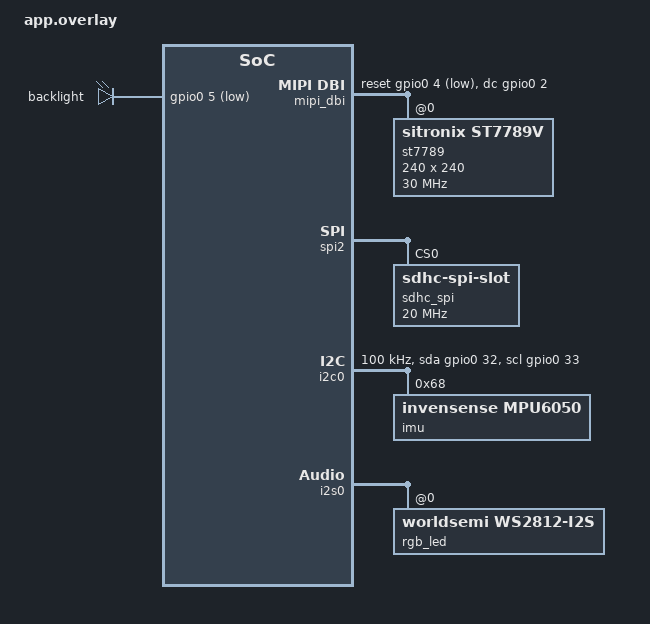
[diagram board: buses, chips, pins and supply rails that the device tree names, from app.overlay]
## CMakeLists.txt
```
cmake_minimum_required(VERSION 3.20.0)

find_package(Zephyr REQUIRED HINTS $ENV{ZEPHYR_BASE})

list(APPEND KCONFIG_SOURCES "${CMAKE_CURRENT_SOURCE_DIR}/src/Kconfig")

project(app1)

zephyr_include_directories(include)

add_subdirectory(src/apps)

target_sources(app PRIVATE
  src/main.c
  src/gui.c
  src/tool.c
  src/app_mgr.c
  src/app_list.c
  src/app_thread.c
  src/file.c
  src/input.c
  src/ui.c
  src/jpeg.c
  src/led.c
  src/prefs.c
  src/nav.c
  src/lib/tjpgd/tjpgd.c
)
```

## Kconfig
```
source "$ZEPHYR_BASE/Kconfig"

rsource "src/Kconfig"
```

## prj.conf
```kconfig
# main() only idles, but every SYS_INIT (LVGL init, SD mount) runs on this stack.
# Measured peak 1344 bytes ("kernel thread stacks"), keep about 2x margin
CONFIG_MAIN_STACK_SIZE=3072
CONFIG_HEAP_MEM_POOL_SIZE=8192
CONFIG_GPIO=y
CONFIG_SERIAL=y
CONFIG_CONSOLE=y
CONFIG_PRINTK=y
CONFIG_ESP32_USE_UNSUPPORTED_REVISION=y
# -O2: LVGL software rendering and JPEG decoding are CPU bound, flash has plenty of room
CONFIG_SPEED_OPTIMIZATIONS=y

CONFIG_LOG=y
CONFIG_LOG_BUFFER_SIZE=2048
CONFIG_SHELL=y
# Measured 1504 / 2048 bytes, too close
CONFIG_SHELL_STACK_SIZE=3072
# Logs reach the console through the shell, which has its own queue. INFO stays on during
# development (lower the levels for a release build) and the boot burst overflowed the default
CONFIG_SHELL_BACKEND_SERIAL_LOG_MESSAGE_QUEUE_SIZE=2048
CONFIG_SHELL_BACKEND_SERIAL=y

CONFIG_SPI=y
# With DMA, transfers wait on an interrupt instead of busy polling, so other threads keep running
CONFIG_SPI_ESP32_INTERRUPT=y
CONFIG_DISK_ACCESS=y
CONFIG_DISK_DRIVER_SDMMC=y

CONFIG_FILE_SYSTEM=y
CONFIG_FILE_SYSTEM_SHELL=y
CONFIG_FILE_SYSTEM_MKFS=y
# CONFIG_FILE_SYSTEM_SHELL_MOUNT_COMMAND=y

CONFIG_FAT_FILESYSTEM_ELM=y

CONFIG_FS_FATFS_LFN=y
# Don't format the card automatically when mount fails (e.g. an exFAT card),
# use "fs mkfs" from the shell instead
CONFIG_FS_FATFS_MOUNT_MKFS=n

CONFIG_DISPLAY=y
CONFIG_ST7789V=y
CONFIG_LVGL=y
CONFIG_LV_COLOR_DEPTH_16=y
CONFIG_LV_COLOR_16_SWAP=y
CONFIG_LV_USE_LOG=y
CONFIG_LV_USE_LABEL=y
CONFIG_LV_DRAW_SW_COMPLEX=y
# CONFIG_LV_USE_FS_FATFS=y
CONFIG_LV_FONT_DEFAULT_MONTSERRAT_18=y
CONFIG_LV_FONT_MONTSERRAT_14=y
CONFIG_LV_FONT_MONTSERRAT_48=y
# JPEG decoding uses the project copy in src/lib/tjpgd (RGB565 output, fastest mode)

# Menu stays alive under every app, and Files with ~20 rows plus the fade-in (both screens drawn)
# ran 32 KB out of memory. The RAM left over for the unused libc heap covers the increase.
CONFIG_LV_Z_MEM_POOL_SIZE=65536
# Draw buffer as % of the screen, larger means fewer flushes per frame
CONFIG_LV_Z_VDB_SIZE=20
# Must match LV_COLOR_DEPTH, otherwise the draw buffer is allocated twice as large
CONFIG_LV_Z_BITS_PER_PIXEL=16
# Render the next part while the previous one is sent to the display
CONFIG_LV_Z_FLUSH_THREAD=y
CONFIG_LV_Z_DOUBLE_VDB=y
# CONFIG_LV_Z_LVGL_MUTEX=y
CONFIG_LV_Z_USE_FILESYSTEM=y

CONFIG_LED=y
CONFIG_LED_GPIO=y

CONFIG_SENSOR=y
CONFIG_MPU6050=y

CONFIG_LED_STRIP=y
CONFIG_WS2812_STRIP_I2S=y

# Hardware RNG for the Dice app
CONFIG_ENTROPY_GENERATOR=y

# Settings kept across reboots (storage partition in flash)
CONFIG_FLASH=y
CONFIG_FLASH_MAP=y
CONFIG_NVS=y
CONFIG_SETTINGS=y
CONFIG_SETTINGS_NVS=y

####
# CONFIG_SMP=y
# CONFIG_MP_MAX_NUM_CPUS=2

#### Debug: "kernel thread stacks" in the shell shows stack usage
CONFIG_INIT_STACKS=y
CONFIG_THREAD_STACK_INFO=y
CONFIG_THREAD_NAME=y
# Used by the SysInfo app
CONFIG_THREAD_MONITOR=y
CONFIG_SYS_HEAP_RUNTIME_STATS=y

####
# CONFIG_APP_THREAD_SHOW_FPS=y
CONFIG_APP_MENU=y
# Measured peak 688 bytes
CONFIG_INPUT_THREAD_STACK_SIZE=2048
```

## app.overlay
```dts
// #include <zephyr/dt-bindings/mipi_dbi/mipi_dbi.h>
#include <zephyr/dt-bindings/led/led.h>
#include <zephyr/dt-bindings/led/worldsemi_ws2812c.h>

/ {
    chosen {
        zephyr,console = &uart0;
        zephyr,shell-uart = &uart0;
        zephyr,display = &st7789;
    };

    aliases {
        
    };

    mipi_dbi: mipi_dbi {
        compatible = "zephyr,mipi-dbi-spi";
        #address-cells = <1>;
        #size-cells = <0>;
        spi-dev = <&spi3>;
        dc-gpios = <&gpio0 2 GPIO_ACTIVE_HIGH>;
        reset-gpios = <&gpio0 4 GPIO_ACTIVE_LOW>;
        write-only;

        st7789: st7789@0 {
            compatible = "sitronix,st7789v";
            mipi-max-frequency = <30000000>;
            reg = <0>;
            width = <240>;
            height = <240>;
            x-offset = <0>;
            y-offset = <0>;
            vcom = <0x19>;
            gctrl = <0x35>;
            vrhs = <0x12>;
            vdvs = <0x20>;
            /*
             * MADCTL: mirrored for viewing through the beam-splitter cube.
             * 0x40 = MX, left-right mirror (no offset needed).
             * If the image looks upside down instead, use 0x80 (MY, top-bottom mirror)
             * and set y-offset = <80>: the controller has 320 rows, the 240x240 panel
             * only shows 240 of them.
             * 0x00 = normal, for looking at the screen directly.
             */
            mdac = <0x40>;
            gamma = <0x01>;
            colmod = <0x05>;
            lcm = <0x2c>;
            porch-param = [0c 0c 00 33 33];
            cmd2en-param = [5a 69 02 01];
            pwctrl1-param = [a4 a1];
            pvgam-param = [D0 04 0D 11 13 2B 3F 54 4C 18 0D 0B 1F 23];
            nvgam-param = [D0 04 0C 11 13 2C 3F 44 51 2F 1F 1F 20 23];
            ram-param = [00 F0];
            rgb-param = [CD 08 14];
            mipi-mode = "MIPI_DBI_MODE_SPI_4WIRE";
            status = "okay";
            mipi-cpol;
            mipi-cpha;
        };
    };

    leds {
        compatible = "gpio-leds";
        status = "okay";

        backlight: led_0 {
            gpios = <&gpio0 5 GPIO_ACTIVE_LOW>;
        };
    };
};

&spim2_default {
    group1 {
        pinmux = <SPIM2_MISO_GPIO26>,
            <SPIM2_SCLK_GPIO14>,
            <SPIM2_CSEL_GPIO15>;
    };

    group2 {
        pinmux = <SPIM2_MOSI_GPIO13>;
        output-low;
    };
};

&spim3_default {
    group1 {
        pinmux = <SPIM3_MISO_GPIO9>,
            <SPIM3_SCLK_GPIO18>,
            <0>;
    };

    group2 {
        pinmux = <SPIM3_MOSI_GPIO23>;
        output-low;
    };
};

&i2c0_default {
    group1 {
        pinmux = <I2C0_SDA_GPIO32>,
            <I2C0_SCL_GPIO33>;
        // bias-pull-up;
        drive-open-drain;
        output-high;
    };
};

&i2s0_default {
    group1 {
        pinmux = <I2S0_O_SD_GPIO27>;
    };
};

&spi2 {
    // No dma-enabled here: both SPI buses share one DMA clock and the Zephyr driver fails
    // ("Could not enable DMA clock") on the second bus that enables it. The display needs it more.
    sdhc_spi: sdhc_spi@0 {
        compatible = "zephyr,sdhc-spi-slot";
        reg = <0>;
        // MISO is on GPIO26 (through the GPIO matrix), reads above 20 MHz fail
        spi-max-frequency = <20000000>;
        status = "okay";
        mmc {
            compatible = "zephyr,sdmmc-disk";
            disk-name = "SD";
            status = "okay";
        };
    };
};

&i2c0 {
    // 400 kHz (I2C_BITRATE_FAST) made the MPU6050 fail to init: the pins rely on external
    // pull-ups (bias-pull-up is off) and they are too weak for fast mode. Stay at 100 kHz.
    clock-frequency = <I2C_BITRATE_STANDARD>;
    sda-gpios = <&gpio0 32 GPIO_OPEN_DRAIN>;
    scl-gpios = <&gpio0 33 GPIO_OPEN_DRAIN>;

    imu: mpu6050@68 {
        compatible = "invensense,mpu6050";
        reg = <0x68>;
        status = "okay";
    };
};

&i2s0 {
    status = "okay";

    rgb_led: ws2812@0 {
        compatible = "worldsemi,ws2812-i2s";
        reg = <0>;

        chain-length = <1>;
        color-mapping = <LED_COLOR_ID_GREEN
                LED_COLOR_ID_RED
                LED_COLOR_ID_BLUE>;
        reset-delay = <500>;
    };
};

&spi3 {
    // Display bus: DMA lets a whole row go out in one transfer instead of 64-byte chunks.
    // Only one bus may have DMA, see &spi2.
    dma-enabled;
};
```

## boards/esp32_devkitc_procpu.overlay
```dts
// #include <zephyr/dt-bindings/mipi_dbi/mipi_dbi.h>

/ {
    chosen {
        zephyr,console = &uart0;
        zephyr,shell-uart = &uart0;
        zephyr,display = &st7789;
    };

    aliases {
        
    };

    mipi_dbi: mipi_dbi {
        compatible = "zephyr,mipi-dbi-spi";
        #address-cells = <1>;
        #size-cells = <0>;
        spi-dev = <&spi3>;
        dc-gpios = <&gpio0 2 GPIO_ACTIVE_HIGH>;
        reset-gpios = <&gpio0 4 GPIO_ACTIVE_LOW>;
        write-only;

        st7789: st7789@0 {
            compatible = "sitronix,st7789v";
            mipi-max-frequency = <30000000>;
            reg = <0>;
            width = <240>;
            height = <240>;
            x-offset = <0>;
            y-offset = <0>;
            vcom = <0x19>;
            gctrl = <0x35>;
            vrhs = <0x12>;
            vdvs = <0x20>;
            mdac = <0x00>;
            gamma = <0x01>;
            colmod = <0x05>;
            lcm = <0x2c>;
            porch-param = [0c 0c 00 33 33];
            cmd2en-param = [5a 69 02 01];
            pwctrl1-param = [a4 a1];
            pvgam-param = [D0 04 0D 11 13 2B 3F 54 4C 18 0D 0B 1F 23];
            nvgam-param = [D0 04 0C 11 13 2C 3F 44 51 2F 1F 1F 20 23];
            ram-param = [00 F0];
            rgb-param = [CD 08 14];
            mipi-mode = "MIPI_DBI_MODE_SPI_4WIRE";
            status = "okay";
            mipi-cpol;
            mipi-cpha;
        };
    };

    leds {
        compatible = "gpio-leds";
        status = "okay";

        backlight: led_0 {
            gpios = <&gpio0 5 GPIO_ACTIVE_LOW>;
        };
    };
};

&pinctrl {
    /omit-if-no-ref/ spim2_default: spim2_default {
        group1 {
            pinmux = <SPIM2_MISO_GPIO26>,
                <SPIM2_SCLK_GPIO14>,
                <SPIM2_CSEL_GPIO15>;
        };

        group2 {
            pinmux = <SPIM2_MOSI_GPIO13>;
            output-low;
        };
    };

    /omit-if-no-ref/ spim3_default: spim3_default {
        group1 {
            pinmux = <SPIM3_MISO_GPIO9>,
                <SPIM3_SCLK_GPIO18>,
                <0>;
        };

        group2 {
            pinmux = <SPIM3_MOSI_GPIO23>;
            output-low;
        };
    };
};

&spi2 {
    sdhc_spi: sdhc_spi@0 {
        compatible = "zephyr,sdhc-spi-slot";
        reg = <0>;
        spi-max-frequency = <20000000>;
        status = "okay";
        mmc {
            compatible = "zephyr,sdmmc-disk";
            disk-name = "SD";
            status = "okay";
        };
    };
};
```

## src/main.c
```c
#include <zephyr/kernel.h>

// Everything runs in SYS_INIT functions and the app / input threads, main has nothing to do
int main(void)
{
    return 0;
}
```

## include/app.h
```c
#pragma once

typedef struct {
    int prio;
    const char *name;
    const char *icon;
    void (*init)(void *scr);
    void (*run)(void *scr);
    void (*exit)(void *scr);
} app_t;

#define APP_INST_CREATE(_inst, _name, _icon, _init, _run, _exit, _prio) \
    static void _init(void *); \
    static void _run(void *); \
    static const app_t _inst = { \
        .prio = _prio , \
        .name = #_name, \
        .icon = _icon, \
        .init = (void (*)(void *))_init, \
        .run = (void (*)(void *))_run, \
        .exit = (void (*)(void *))_exit, \
    }

#define APP_REGISTER(_name, _icon, _init, _run, _exit, _prio) \
    APP_INST_CREATE(app_inst, _name, _icon, _init, _run, _exit, _prio); \
    int app_list_insert(const app_t *app); \
    static int app_register(void) \
    { \
        const app_t *app = &app_inst; \
        app_list_insert(app); \
        LOG_INF("Registered app: %s with priority %d", app->name, app->prio); \
        return 0; \
    } \
    SYS_INIT(app_register, APPLICATION, CONFIG_APPLICATION_INIT_PRIORITY)
```

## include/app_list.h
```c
#pragma once

#include <zephyr/sys/slist.h>
#include "app.h"

typedef struct {
    sys_snode_t node;
    const app_t *app;
} app_node_t;

int app_list_insert(const app_t *app);
const app_t *app_list_get(int index);
```

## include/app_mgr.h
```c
#pragma once
#include "app.h"

typedef enum {
    APP_MGR_EVENT_NONE,
    APP_MGR_EVENT_APP_LOAD,
    APP_MGR_EVENT_APP_END,
} app_mgr_event_t;

int app_mgr_check(app_mgr_event_t *p_event, const void **p_data);
int app_mgr_load_app(int index);
int app_mgr_end_app(void);
```

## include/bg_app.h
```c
#pragma once

#include <zephyr/kernel.h>
#include <zephyr/logging/log.h>
#include <lvgl.h>
#include "app_mgr.h"

#define APP_BG_REGISTER(_name, _app_init, _app_run) \
    LOG_MODULE_REGISTER(_name, CONFIG_APP_BG_LOG_LEVEL); \
    APP_REGISTER(_name, NULL, _app_init, _app_run, NULL, 0)
```

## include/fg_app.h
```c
#pragma once

#include <zephyr/kernel.h>
#include <zephyr/logging/log.h>
#include <lvgl.h>
#include "app.h"

// Id 0 reserved for backgriund app registration
// _icon: LV_SYMBOL_* shown in the menu, NULL for a default icon
#define APP_FG_REGISTER(_name, _icon, _init, _run, _exit, _prio) \
    BUILD_ASSERT((_prio) != 0, "Foreground app priority cannot be 0"); \
    LOG_MODULE_REGISTER(_name, CONFIG_APP_FG_LOG_LEVEL); \
    static void _exit(void *); \
    APP_REGISTER(_name, _icon, _init, _run, _exit, _prio)
```

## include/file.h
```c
#pragma once

#include <stdbool.h>

// True if the file or folder exists. Use it before opening optional files:
// fs_open / fs_opendir log an error for missing paths, fs_stat does not.
bool file_exists(const char *path);
```

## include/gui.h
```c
#pragma once

// Draw the first frame and turn the display on. Call from the LVGL thread once it runs,
// never from SYS_INIT (the LVGL flush thread only starts after all SYS_INIT functions).
void gui_start(void);
```

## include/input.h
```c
#pragma once

// Orientation from the IMU in degrees. Taps are sent as NAV_TAP (see nav.h).
typedef struct {
    float roll;
    float pitch;
    float yaw;
} input_angle_t;

char input_get(input_angle_t *angle);
```

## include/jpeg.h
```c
#pragma once

/*
 * Decode a baseline JPEG and write it straight to the display, centered.
 * This bypasses LVGL: call jpeg_begin() once LVGL has nothing left to redraw,
 * and invalidate the screen when switching back to LVGL drawing.
 */

// Make LVGL finish drawing now, after this the screen belongs to jpeg_show()
void jpeg_begin(void);

// Returns 0 on success, -ENOENT if the file does not exist, -EIO on decode errors
int jpeg_show(const char *path);
```

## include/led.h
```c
#pragma once

#include <stdint.h>

// Brightness cap applied by led_set(), full 255 on a WS2812 is blinding
#define LED_MAX_BRIGHTNESS 64

// Set the RGB LED, each channel 0-255 is scaled down to LED_MAX_BRIGHTNESS
int led_set(uint8_t r, uint8_t g, uint8_t b);

// Same as led_set() but takes 0xRRGGBB
int led_set_hex(uint32_t rgb);

// Set the color the LED returns to after temporary effects (the Light app's choice), saved across reboots
int led_set_base(uint32_t rgb);

// The current base color (0xRRGGBB, 0 means off)
uint32_t led_get_base(void);

// Go back to the base color, use this instead of turning the LED off
int led_restore(void);

// Write the raw values without scaling
int led_set_raw(uint8_t r, uint8_t g, uint8_t b);
```

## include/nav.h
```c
#pragma once

#include <stdbool.h>

/*
 * Navigation commands. Any thread (shell, input) queues them with nav_send(),
 * the app thread applies them to LVGL in nav_process(), so LVGL is only touched
 * from one thread.
 */
typedef enum {
    NAV_NEXT,   // move the highlight forward
    NAV_PREV,   // move the highlight back
    NAV_OK,     // click the highlighted object
    NAV_BACK,   // close the foreground app
    NAV_TAP,    // a tap on the cube: like NAV_NEXT inside an app unless it handles it, ignored in the menu
} nav_cmd_t;

// Return true when the command was handled, false to fall back to the default action
typedef bool (*nav_handler_t)(nav_cmd_t cmd);

// Queue a command, safe from any thread
int nav_send(nav_cmd_t cmd);

// Let the foreground app see NEXT / PREV / OK / TAP first, e.g. Photos turns NEXT into
// "next photo". Call it from the app's init; it is cleared automatically when the app closes.
void nav_set_handler(nav_handler_t handler);

// App thread only: apply queued commands to the default group.
// in_app is false while the menu is shown, taps are ignored there.
void nav_process(bool in_app);
```

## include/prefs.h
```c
#pragma once

#include <stddef.h>

/*
 * Small values kept across reboots, stored with the Zephyr settings subsystem in the
 * flash storage partition. Keys are short names like "led/base", stored under "cube/".
 */

// Read a value, returns the number of bytes read or a negative error (-ENOENT if never saved)
int prefs_load(const char *key, void *buf, size_t len);

// Write a value (a flash write, so only on user actions, never every frame)
int prefs_save(const char *key, const void *buf, size_t len);
```
